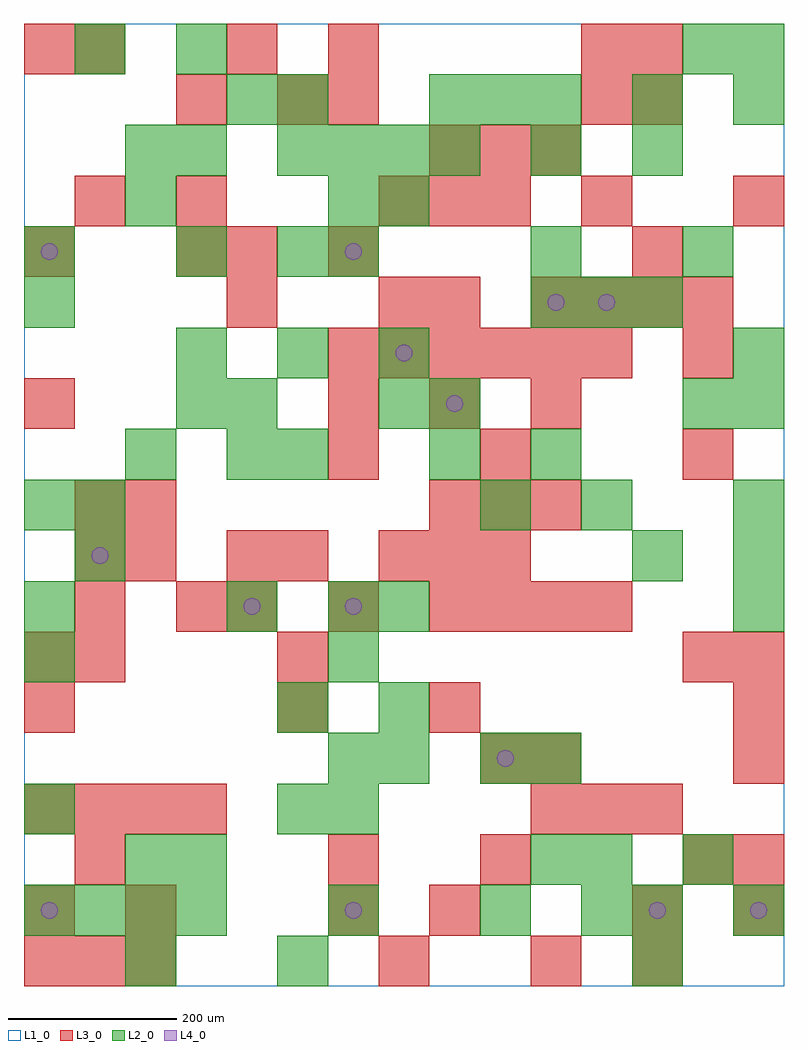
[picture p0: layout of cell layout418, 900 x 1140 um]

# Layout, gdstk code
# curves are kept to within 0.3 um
import gdstk
lib = gdstk.Library(unit=1e-6, precision=1e-09)
def R(c, l, rs):  # rectangles x0, y0, x1, y1
    for r in rs: c.add(gdstk.rectangle(r[:2], r[2:], *l))
def A(c, l, x, y, w, h, nx, ny, dx, dy):  # array of equal rectangles
    R(c, l, [(x+i*dx, y+j*dy, x+i*dx+w, y+j*dy+h) for i in range(nx) for j in range(ny)])
def P(c, l, *ps):  # polygons
    for p in ps: c.add(gdstk.Polygon(p, *l))
L1_0 = (1, 0)
L2_0 = (2, 0)
L3_0 = (3, 0)
L4_0 = (4, 0)

layout418 = lib.new_cell('layout418')
R(layout418, L1_0, [(0,0,900,1140)])
A(layout418, L2_0, 0, 60, 60, 60, 4, 1, 60, 0)
A(layout418, L2_0, 420, 420, 60, 60, 1, 3, 0, 240)
A(layout418, L2_0, 840, 420, 60, 60, 1, 3, 0, 60)
A(layout418, L2_0, 180, 720, 60, 60, 3, 1, 120, 0)
A(layout418, L2_0, 600, 780, 60, 60, 3, 1, 60, 0)
A(layout418, L2_0, 180, 840, 60, 60, 1, 3, 0, 120)
A(layout418, L2_0, 300, 960, 60, 60, 4, 1, 60, 0)
A(layout418, L2_0, 480, 1020, 60, 60, 3, 1, 60, 0)
R(layout418, L2_0, [(120,0,180,60), (300,0,360,60), (720,0,780,60), (360,60,420,120), (540,60,600,120), (660,60,720,120), (720,60,780,120), (840,60,900,120), (120,120,180,180), (180,120,240,180), (600,120,660,180), (660,120,720,180), (780,120,840,180), (0,180,60,240), (300,180,360,240), (360,180,420,240), (360,240,420,300), (420,240,480,300), (540,240,600,300), (600,240,660,300), (300,300,360,360), (420,300,480,360), (0,360,60,420), (360,360,420,420), (0,420,60,480), (240,420,300,480), (360,420,420,480), (60,480,120,540), (720,480,780,540), (0,540,60,600), (60,540,120,600), (540,540,600,600), (660,540,720,600), (120,600,180,660), (240,600,300,660), (300,600,360,660), (480,600,540,660), (600,600,660,660), (180,660,240,720), (240,660,300,720), (480,660,540,720), (780,660,840,720), (840,660,900,720), (840,720,900,780), (0,780,60,840), (0,840,60,900), (300,840,360,900), (360,840,420,900), (600,840,660,900), (780,840,840,900), (120,900,180,960), (360,900,420,960), (120,960,180,1020), (600,960,660,1020), (720,960,780,1020), (240,1020,300,1080), (300,1020,360,1080), (720,1020,780,1080), (840,1020,900,1080), (60,1080,120,1140), (780,1080,840,1140), (840,1080,900,1140)])
A(layout418, L3_0, 0, 0, 60, 60, 3, 1, 60, 0)
A(layout418, L3_0, 780, 120, 60, 60, 1, 3, 0, 240)
A(layout418, L3_0, 0, 180, 60, 60, 4, 1, 60, 0)
A(layout418, L3_0, 600, 180, 60, 60, 3, 1, 60, 0)
A(layout418, L3_0, 840, 240, 60, 60, 1, 3, 0, 60)
A(layout418, L3_0, 60, 360, 60, 60, 1, 4, 0, 60)
A(layout418, L3_0, 240, 420, 60, 60, 3, 1, 120, 0)
A(layout418, L3_0, 540, 420, 60, 60, 3, 1, 60, 0)
A(layout418, L3_0, 420, 480, 60, 60, 3, 2, 60, 420)
A(layout418, L3_0, 480, 540, 60, 60, 3, 2, 60, 420)
A(layout418, L3_0, 360, 660, 60, 60, 3, 1, 120, 0)
A(layout418, L3_0, 360, 720, 60, 60, 6, 1, 60, 0)
A(layout418, L3_0, 600, 780, 60, 60, 4, 1, 60, 0)
R(layout418, L3_0, [(420,0,480,60), (600,0,660,60), (720,0,780,60), (0,60,60,120), (120,60,180,120), (360,60,420,120), (480,60,540,120), (720,60,780,120), (840,60,900,120), (60,120,120,180), (360,120,420,180), (540,120,600,180), (840,120,900,180), (540,240,600,300), (600,240,660,300), (0,300,60,360), (300,300,360,360), (480,300,540,360), (0,360,60,420), (300,360,360,420), (180,420,240,480), (120,480,180,540), (240,480,300,540), (300,480,360,540), (120,540,180,600), (360,600,420,660), (540,600,600,660), (0,660,60,720), (780,720,840,780), (240,780,300,840), (420,780,480,840), (480,780,540,840), (0,840,60,900), (180,840,240,900), (240,840,300,900), (360,840,420,900), (720,840,780,900), (60,900,120,960), (180,900,240,960), (660,900,720,960), (840,900,900,960), (180,1020,240,1080), (300,1020,360,1080), (360,1020,420,1080), (660,1020,720,1080), (720,1020,780,1080), (0,1080,60,1140), (60,1080,120,1140), (240,1080,300,1140), (360,1080,420,1140), (660,1080,720,1140), (720,1080,780,1140)])
P(layout418, L4_0, [(40,90),(39.239,93.827),(37.071,97.071),(33.827,99.239),(30,100),(26.173,99.239),(22.929,97.071),(20.761,93.827),(20,90),(20.761,86.173),(22.929,82.929),(26.173,80.761),(30,80),(33.827,80.761),(37.071,82.929),(39.239,86.173)],
  [(40,870),(39.239,873.827),(37.071,877.071),(33.827,879.239),(30,880),(26.173,879.239),(22.929,877.071),(20.761,873.827),(20,870),(20.761,866.173),(22.929,862.929),(26.173,860.761),(30,860),(33.827,860.761),(37.071,862.929),(39.239,866.173)],
  [(100,510),(99.239,513.827),(97.071,517.071),(93.827,519.239),(90,520),(86.173,519.239),(82.929,517.071),(80.761,513.827),(80,510),(80.761,506.173),(82.929,502.929),(86.173,500.761),(90,500),(93.827,500.761),(97.071,502.929),(99.239,506.173)],
  [(280,450),(279.239,453.827),(277.071,457.071),(273.827,459.239),(270,460),(266.173,459.239),(262.929,457.071),(260.761,453.827),(260,450),(260.761,446.173),(262.929,442.929),(266.173,440.761),(270,440),(273.827,440.761),(277.071,442.929),(279.239,446.173)],
  [(400,90),(399.239,93.827),(397.071,97.071),(393.827,99.239),(390,100),(386.173,99.239),(382.929,97.071),(380.761,93.827),(380,90),(380.761,86.173),(382.929,82.929),(386.173,80.761),(390,80),(393.827,80.761),(397.071,82.929),(399.239,86.173)],
  [(400,450),(399.239,453.827),(397.071,457.071),(393.827,459.239),(390,460),(386.173,459.239),(382.929,457.071),(380.761,453.827),(380,450),(380.761,446.173),(382.929,442.929),(386.173,440.761),(390,440),(393.827,440.761),(397.071,442.929),(399.239,446.173)],
  [(400,870),(399.239,873.827),(397.071,877.071),(393.827,879.239),(390,880),(386.173,879.239),(382.929,877.071),(380.761,873.827),(380,870),(380.761,866.173),(382.929,862.929),(386.173,860.761),(390,860),(393.827,860.761),(397.071,862.929),(399.239,866.173)],
  [(460,750),(459.239,753.827),(457.071,757.071),(453.827,759.239),(450,760),(446.173,759.239),(442.929,757.071),(440.761,753.827),(440,750),(440.761,746.173),(442.929,742.929),(446.173,740.761),(450,740),(453.827,740.761),(457.071,742.929),(459.239,746.173)],
  [(520,690),(519.239,693.827),(517.071,697.071),(513.827,699.239),(510,700),(506.173,699.239),(502.929,697.071),(500.761,693.827),(500,690),(500.761,686.173),(502.929,682.929),(506.173,680.761),(510,680),(513.827,680.761),(517.071,682.929),(519.239,686.173)],
  [(580,270),(579.239,273.827),(577.071,277.071),(573.827,279.239),(570,280),(566.173,279.239),(562.929,277.071),(560.761,273.827),(560,270),(560.761,266.173),(562.929,262.929),(566.173,260.761),(570,260),(573.827,260.761),(577.071,262.929),(579.239,266.173)],
  [(640,810),(639.239,813.827),(637.071,817.071),(633.827,819.239),(630,820),(626.173,819.239),(622.929,817.071),(620.761,813.827),(620,810),(620.761,806.173),(622.929,802.929),(626.173,800.761),(630,800),(633.827,800.761),(637.071,802.929),(639.239,806.173)],
  [(700,810),(699.239,813.827),(697.071,817.071),(693.827,819.239),(690,820),(686.173,819.239),(682.929,817.071),(680.761,813.827),(680,810),(680.761,806.173),(682.929,802.929),(686.173,800.761),(690,800),(693.827,800.761),(697.071,802.929),(699.239,806.173)],
  [(760,90),(759.239,93.827),(757.071,97.071),(753.827,99.239),(750,100),(746.173,99.239),(742.929,97.071),(740.761,93.827),(740,90),(740.761,86.173),(742.929,82.929),(746.173,80.761),(750,80),(753.827,80.761),(757.071,82.929),(759.239,86.173)],
  [(880,90),(879.239,93.827),(877.071,97.071),(873.827,99.239),(870,100),(866.173,99.239),(862.929,97.071),(860.761,93.827),(860,90),(860.761,86.173),(862.929,82.929),(866.173,80.761),(870,80),(873.827,80.761),(877.071,82.929),(879.239,86.173)])

lib.write_gds('layout418.gds')
